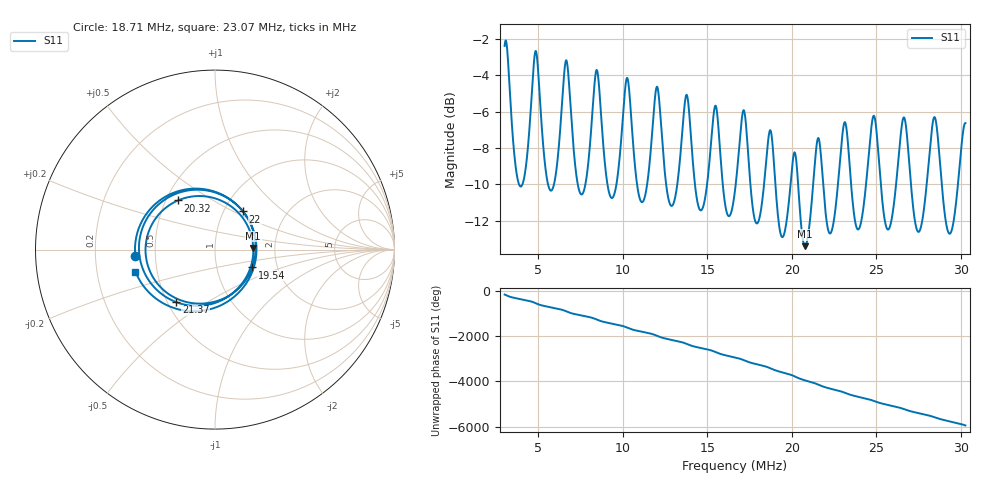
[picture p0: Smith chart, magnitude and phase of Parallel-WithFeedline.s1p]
# HZ S RI R 50
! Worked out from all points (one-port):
!   2727 points, 3 MHz to 30.27 MHz, reference 50 ohm
!   lowest |S11| = -13.4 dB at 20.78 MHz (marker M1), VSWR 1.54, Z = 77.1 + j1.47 ohm
!   |S11| at or under -10 dB: 19.03 MHz to 19.92 MHz (898.5 kHz wide, 4.61 % of centre); 27.05 MHz to 27.98 MHz (930.6 kHz wide, 3.38 % of centre); 28.87 MHz to 29.83 MHz (958 kHz wide, 3.26 % of centre)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
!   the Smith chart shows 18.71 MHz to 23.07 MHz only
!   S11 on the Smith chart (normalised r, x): 18.71 MHz: 0.38, -0.03; 19.54 MHz: 1.48, -0.31; 20.32 MHz: 0.58, +0.36; 21.37 MHz: 0.56, -0.37; 22 MHz: 1.23, +0.56; 23.07 MHz: 0.38, -0.12
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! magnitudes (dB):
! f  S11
! 3 MHz  -2.4
! 3.92 MHz  -10.1
! 4.821 MHz  -2.7
! 5.681 MHz  -10.3
! 6.411 MHz  -5.4
! 9.823 MHz  -8.4
! 10.27 MHz  -4.2
! 11.2 MHz  -10.9
! 12.02 MHz  -4.6
! 13.23 MHz  -9.9
! 13.76 MHz  -5.1
! 14.53 MHz  -11.4
! 15.46 MHz  -5.7
! 16.64 MHz  -10.3
! 18.71 MHz  -7.0
! 19.54 MHz  -12.8
! 20.05 MHz  -8.8
! 20.32 MHz  -9.3
! 20.78 MHz  -13.4
! 21.37 MHz  -8.8
! 22 MHz  -11.6
! 23.07 MHz  -6.7
! 23.46 MHz  -9.4
! 26.87 MHz  -7.9
! 27.53 MHz  -12.6
! 28.47 MHz  -6.3
! 29.35 MHz  -12.7
! 30.27 MHz  -6.6
